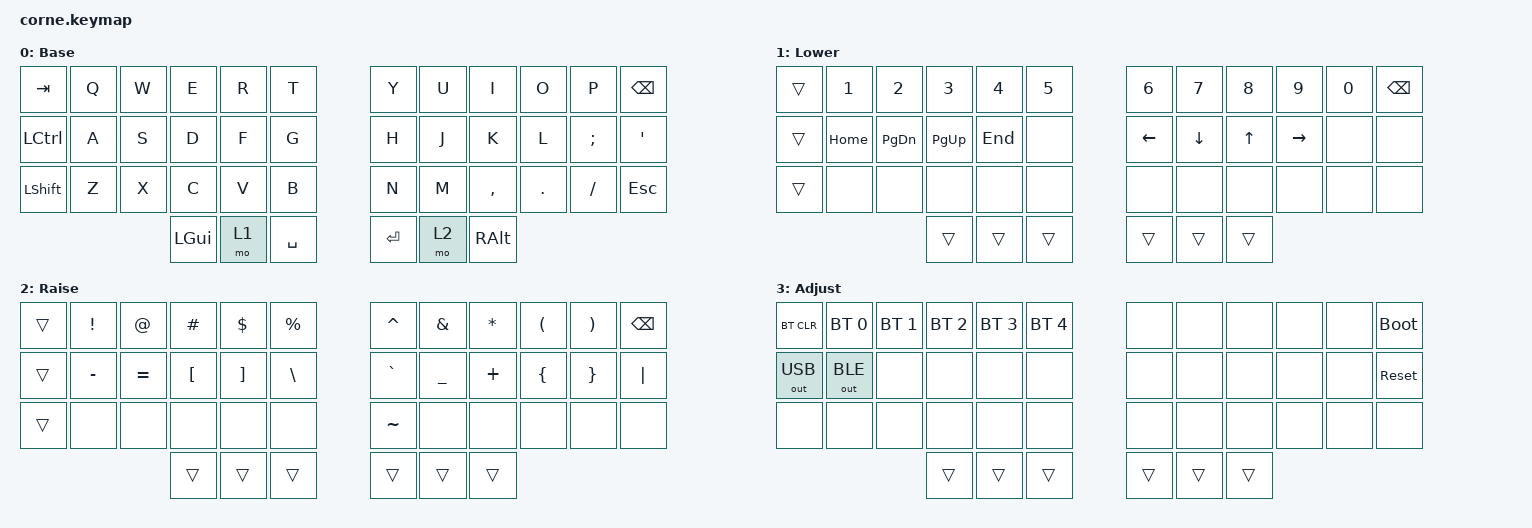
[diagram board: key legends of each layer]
#include <behaviors.dtsi>
#include <dt-bindings/zmk/keys.h>
#include <dt-bindings/zmk/bt.h>
#include <dt-bindings/zmk/outputs.h>

/ {
    conditional_layers {
        compatible = "zmk,conditional-layers";
        tri_layer {
            if-layers = <1 2>;
            then-layer = <3>;
        };
    };

    keymap {
        compatible = "zmk,keymap";

        base_layer {
            display-name = "Base";
            bindings = <
&kp TAB    &kp Q &kp W &kp E &kp R &kp T    &kp Y &kp U &kp I     &kp O   &kp P    &kp BSPC
&kp LCTRL  &kp A &kp S &kp D &kp F &kp G    &kp H &kp J &kp K     &kp L   &kp SEMI &kp SQT
&kp LSHFT  &kp Z &kp X &kp C &kp V &kp B    &kp N &kp M &kp COMMA &kp DOT &kp FSLH &kp ESC
                   &kp LGUI &mo 1 &kp SPACE    &kp RET &mo 2 &kp RALT
            >;
        };

        lower_layer {
            display-name = "Lower";
            bindings = <
&trans  &kp N1   &kp N2    &kp N3    &kp N4  &kp N5    &kp N6   &kp N7   &kp N8 &kp N9    &kp N0 &kp BSPC
&trans  &kp HOME &kp PG_DN &kp PG_UP &kp END &none     &kp LEFT &kp DOWN &kp UP &kp RIGHT &none  &none
&trans  &none    &none     &none     &none   &none     &none    &none    &none  &none     &none  &none
                           &trans &trans &trans    &trans &trans &trans
            >;
        };

        raise_layer {
            display-name = "Raise";
            bindings = <
&trans  &kp EXCL  &kp AT    &kp HASH  &kp DLLR  &kp PRCNT    &kp CARET &kp AMPS  &kp STAR  &kp LPAR  &kp RPAR  &kp BSPC
&trans  &kp MINUS &kp EQUAL &kp LBKT  &kp RBKT  &kp BSLH     &kp GRAVE &kp UNDER &kp PLUS  &kp LBRC  &kp RBRC  &kp PIPE
&trans  &none     &none     &none     &none     &none        &kp TILDE &none     &none     &none     &none     &none
                            &trans &trans &trans    &trans &trans &trans
            >;
        };

        adjust_layer {
            display-name = "Adjust";
            bindings = <
&bt BT_CLR &bt BT_SEL 0 &bt BT_SEL 1 &bt BT_SEL 2 &bt BT_SEL 3 &bt BT_SEL 4    &none &none &none &none &none &bootloader
&out OUT_USB &out OUT_BLE &none &none &none &none                              &none &none &none &none &none &sys_reset
&none &none &none &none &none &none                                            &none &none &none &none &none &none
                           &trans &trans &trans    &trans &trans &trans
            >;
        };
    };
};
